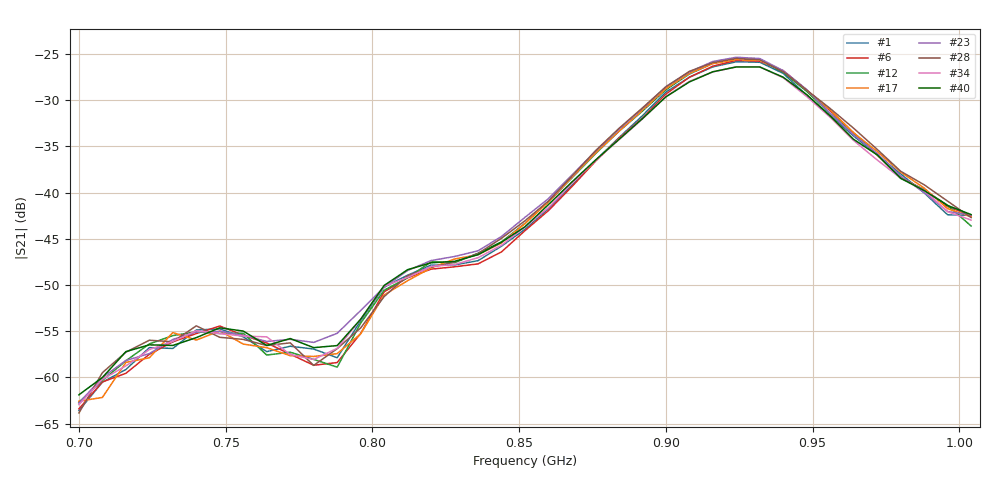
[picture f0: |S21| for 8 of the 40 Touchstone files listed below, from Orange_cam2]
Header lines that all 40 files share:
# Hz S RI R 50
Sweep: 700 MHz to 1.004 GHz
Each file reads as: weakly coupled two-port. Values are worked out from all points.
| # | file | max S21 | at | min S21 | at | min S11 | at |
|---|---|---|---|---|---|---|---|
| 1 | cam1.s2p | -25.83 dB | 924 MHz | -63.6 dB | 700 MHz | -21.0 dB | 932 MHz |
| 2 | cam2.s2p | -25.69 dB | 924 MHz | -63.3 dB | 700 MHz | -20.4 dB | 932 MHz |
| 3 | cam3.s2p | -25.86 dB | 924 MHz | -63.3 dB | 700 MHz | -20.0 dB | 932 MHz |
| 4 | cam4.s2p | -25.78 dB | 924 MHz | -62.8 dB | 700 MHz | -21.3 dB | 932 MHz |
| 5 | cam5.s2p | -25.80 dB | 924 MHz | -63.0 dB | 700 MHz | -20.8 dB | 932 MHz |
| 6 | cam6.s2p | -25.68 dB | 924 MHz | -63.4 dB | 700 MHz | -20.8 dB | 932 MHz |
| 7 | cam7.s2p | -25.75 dB | 924 MHz | -62.9 dB | 700 MHz | -21.1 dB | 932 MHz |
| 8 | cam8.s2p | -25.80 dB | 924 MHz | -62.7 dB | 700 MHz | -21.0 dB | 932 MHz |
| 9 | cam9.s2p | -25.96 dB | 924 MHz | -63.1 dB | 700 MHz | -20.6 dB | 932 MHz |
| 10 | cam10.s2p | -26.02 dB | 932 MHz | -62.3 dB | 700 MHz | -20.5 dB | 932 MHz |
| 11 | cam11.s2p | -25.46 dB | 924 MHz | -62.9 dB | 700 MHz | -18.6 dB | 932 MHz |
| 12 | cam12.s2p | -25.56 dB | 924 MHz | -62.7 dB | 700 MHz | -18.5 dB | 932 MHz |
| 13 | cam13.s2p | -25.62 dB | 924 MHz | -63.2 dB | 700 MHz | -19.0 dB | 932 MHz |
| 14 | cam14.s2p | -25.64 dB | 932 MHz | -61.0 dB | 700 MHz | -18.9 dB | 932 MHz |
| 15 | cam15.s2p | -25.76 dB | 924 MHz | -63.1 dB | 700 MHz | -18.4 dB | 932 MHz |
| 16 | cam16.s2p | -25.84 dB | 924 MHz | -64.0 dB | 700 MHz | -19.1 dB | 932 MHz |
| 17 | cam17.s2p | -25.58 dB | 924 MHz | -62.6 dB | 700 MHz | -18.8 dB | 932 MHz |
| 18 | cam18.s2p | -25.91 dB | 924 MHz | -63.8 dB | 700 MHz | -18.2 dB | 932 MHz |
| 19 | cam19.s2p | -25.59 dB | 924 MHz | -62.6 dB | 700 MHz | -19.1 dB | 932 MHz |
| 20 | cam20.s2p | -25.68 dB | 924 MHz | -63.4 dB | 700 MHz | -18.4 dB | 932 MHz |
| 21 | cam21.s2p | -25.54 dB | 924 MHz | -64.4 dB | 700 MHz | -19.9 dB | 932 MHz |
| 22 | cam22.s2p | -25.44 dB | 924 MHz | -62.2 dB | 700 MHz | -20.0 dB | 932 MHz |
| 23 | cam23.s2p | -25.34 dB | 924 MHz | -62.8 dB | 700 MHz | -19.0 dB | 932 MHz |
| 24 | cam24.s2p | -25.31 dB | 924 MHz | -63.1 dB | 700 MHz | -19.0 dB | 932 MHz |
| 25 | cam25.s2p | -25.28 dB | 924 MHz | -62.7 dB | 700 MHz | -20.2 dB | 932 MHz |
| 26 | cam26.s2p | -25.38 dB | 924 MHz | -62.4 dB | 700 MHz | -20.4 dB | 932 MHz |
| 27 | cam27.s2p | -25.37 dB | 924 MHz | -62.9 dB | 700 MHz | -19.9 dB | 932 MHz |
| 28 | cam28.s2p | -25.47 dB | 924 MHz | -63.9 dB | 700 MHz | -19.1 dB | 932 MHz |
| 29 | cam29.s2p | -25.33 dB | 924 MHz | -64.7 dB | 700 MHz | -19.3 dB | 932 MHz |
| 30 | cam30.s2p | -25.30 dB | 924 MHz | -62.7 dB | 700 MHz | -19.6 dB | 932 MHz |
| 31 | cam31.s2p | -26.35 dB | 924 MHz | -62.0 dB | 700 MHz | -19.7 dB | 932 MHz |
| 32 | cam32.s2p | -26.19 dB | 932 MHz | -62.2 dB | 700 MHz | -19.4 dB | 932 MHz |
| 33 | cam33.s2p | -26.17 dB | 924 MHz | -62.7 dB | 700 MHz | -19.2 dB | 932 MHz |
| 34 | cam34.s2p | -26.38 dB | 924 MHz | -62.9 dB | 700 MHz | -20.9 dB | 932 MHz |
| 35 | cam35.s2p | -26.34 dB | 924 MHz | -63.8 dB | 700 MHz | -20.4 dB | 932 MHz |
| 36 | cam36.s2p | -26.40 dB | 924 MHz | -64.7 dB | 700 MHz | -20.9 dB | 932 MHz |
| 37 | cam37.s2p | -26.50 dB | 932 MHz | -63.3 dB | 700 MHz | -20.3 dB | 932 MHz |
| 38 | cam38.s2p | -26.54 dB | 924 MHz | -63.2 dB | 700 MHz | -20.8 dB | 932 MHz |
| 39 | cam39.s2p | -26.56 dB | 932 MHz | -63.3 dB | 700 MHz | -20.2 dB | 932 MHz |
| 40 | cam40.s2p | -26.39 dB | 924 MHz | -61.9 dB | 700 MHz | -19.8 dB | 932 MHz |
